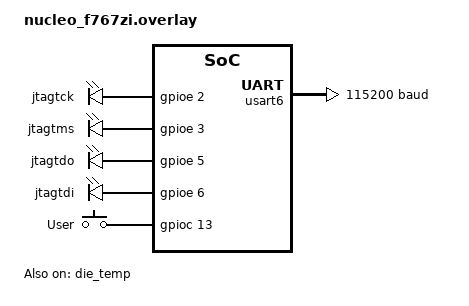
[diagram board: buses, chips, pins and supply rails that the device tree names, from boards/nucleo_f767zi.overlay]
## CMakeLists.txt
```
# SPDX-FileCopyrightText: © 2025-2026 Tenstorrent USA, Inc.
# SPDX-License-Identifier: Apache-2.0

list(APPEND BOARD_ROOT ${CMAKE_CURRENT_SOURCE_DIR})

cmake_minimum_required(VERSION 3.20.0)
find_package(Zephyr REQUIRED HINTS $ENV{ZEPHYR_BASE})
project(wallabmc)

if(BOARD STREQUAL "qemu_cortex_m3")
	if(SYSBUILD)
		message(FATAL_ERROR "qemu_cortex_m3 must NOT be built with sysbuild (e.g., no --sysbuild argument)")
	endif()
else()
	if(NOT SYSBUILD)
		message(FATAL_ERROR "Hardware boards must be built with sysbuild (e.g., --sysbuild argument)")
	endif()
endif()


zephyr_linker_sources(SECTIONS sections-rom.ld)
zephyr_linker_section_ifdef(CONFIG_HTTP_SERVER
  NAME http_resource_desc_web_https_service
  KVMA RAM_REGION GROUP RODATA_REGION
)
zephyr_linker_section_ifdef(CONFIG_HTTP_SERVER
  NAME http_resource_desc_web_http_service
  KVMA RAM_REGION GROUP RODATA_REGION
)

# Used for webserver resources
set(gen_dir ${ZEPHYR_BINARY_DIR}/include/generated/)

# Generate git SHA header at build time so it stays current across commits
find_program(BASH_EXECUTABLE bash)
set(git_sha_header ${gen_dir}/git_sha.h)
add_custom_target(app_git_sha ALL
	COMMAND ${CMAKE_COMMAND}
		-DBASH_EXECUTABLE=${BASH_EXECUTABLE}
		-DSOURCE_DIR=${CMAKE_CURRENT_SOURCE_DIR}
		-DOUTPUT_FILE=${git_sha_header}
		-P ${CMAKE_CURRENT_SOURCE_DIR}/cmake/gen_git_sha.cmake
	BYPRODUCTS ${git_sha_header}
	COMMENT "Generating git SHA header"
)
add_dependencies(app app_git_sha)

target_sources(app PRIVATE
	src/config.c
	src/dhcp.c
	src/main.c
	src/net.c
	src/power.c
	src/synch.c
	src/vpd.c
)

target_sources_ifdef(CONFIG_RTC app PRIVATE
	src/rtc.c
)

target_sources_ifdef(CONFIG_APP_SENSORS app PRIVATE
	src/sensors.c
)

target_sources_ifdef(CONFIG_APP_NTP app PRIVATE
	src/ntp.c
)

target_sources_ifdef(CONFIG_HTTP_SERVER app PRIVATE
	src/http.c
)

target_sources_ifdef(CONFIG_APP_WEB app PRIVATE
	src/web.c
)

target_sources_ifdef(CONFIG_JTAG app PRIVATE
	src/jtag.c
)

target_sources_ifdef(CONFIG_APP_CONSOLE_LOGGER app PRIVATE
	src/console_logger.c
)

target_sources_ifdef(CONFIG_CONSOLE_BRIDGE app PRIVATE
	src/console_bridge.c
)

target_sources_ifdef(CONFIG_APP_WEB_TERMINAL_HOST_SERIAL app PRIVATE
	src/console_bridge_ws.c
)

target_sources_ifdef(CONFIG_PERSISTENT_STORAGE app PRIVATE
	src/button.c
	src/fs.c
)

target_sources_ifdef(CONFIG_REDFISH app PRIVATE
	src/redfish.c
)

target_sources_ifdef(CONFIG_APP_FW_UPDATE app PRIVATE
	src/fw_update.c
)

if(CONFIG_REDFISH)
  foreach(redfish_resource
    redfish_metadata.xml
  )
    generate_inc_file_for_target(app
      static_web_resources/${redfish_resource}
      ${gen_dir}/${redfish_resource}.gz.inc
      --gzip
    )
  endforeach()
endif()

if(CONFIG_APP_WEB)
  foreach(web_resource
    index.html
    logo.jpeg
    favicon.png
  )
    generate_inc_file_for_target(app
      static_web_resources/${web_resource}
      ${gen_dir}/${web_resource}.gz.inc
      --gzip
    )
  endforeach()
endif()

if(CONFIG_APP_CRYPTO)
  find_program(OPENSSL_EXECUTABLE openssl)
  if(NOT OPENSSL_EXECUTABLE)
    message(FATAL_ERROR "CONFIG_APP_CRYPTO requires openssl in PATH")
  endif()
  find_program(BASH_EXECUTABLE bash)
  if(NOT BASH_EXECUTABLE)
    message(FATAL_ERROR "Unable to find bash, needed to generate certificates")
  endif()

  set(generated_certs_dir ${CMAKE_CURRENT_BINARY_DIR}/generated_certs)
  set(generated_server_cert_der ${generated_certs_dir}/server_cert.der)
  set(generated_server_privkey_der ${generated_certs_dir}/server_privkey.der)

  add_custom_command(
    OUTPUT
      ${generated_server_cert_der}
      ${generated_server_privkey_der}
    COMMAND ${CMAKE_COMMAND} -E make_directory ${generated_certs_dir}
    COMMAND ${BASH_EXECUTABLE} ${CMAKE_CURRENT_SOURCE_DIR}/src/certs/gen_ca_cert.sh ${OPENSSL_EXECUTABLE}
    COMMAND ${BASH_EXECUTABLE} ${CMAKE_CURRENT_SOURCE_DIR}/src/certs/gen_server_cert.sh ${OPENSSL_EXECUTABLE}
    WORKING_DIRECTORY ${generated_certs_dir}
    DEPENDS
      ${CMAKE_CURRENT_SOURCE_DIR}/src/certs/gen_ca_cert.sh
      ${CMAKE_CURRENT_SOURCE_DIR}/src/certs/gen_server_cert.sh
    BYPRODUCTS
      ${generated_certs_dir}/ca_cert.pem
      ${generated_certs_dir}/ca_privkey.pem
      ${generated_certs_dir}/ca.srl
      ${generated_certs_dir}/server_cert.pem
      ${generated_certs_dir}/server_privkey.pem
      ${generated_certs_dir}/server_csr.pem
      ${generated_certs_dir}/server_csr.ext
    COMMENT "Generating TLS certificates for APP_CRYPTO"
    VERBATIM
  )

  add_custom_target(app_generate_certs
    DEPENDS
      ${generated_server_cert_der}
      ${generated_server_privkey_der}
  )
  add_dependencies(app app_generate_certs)

  foreach(inc_file
    server_cert.der
    server_privkey.der
  )
    generate_inc_file_for_target(app
      ${generated_certs_dir}/${inc_file}
      ${gen_dir}/${inc_file}.inc
    )
  endforeach()
endif()

if(CONFIG_PERSISTENT_STORAGE)
  if(CONFIG_CODE_DATA_RELOCATION_SRAM AND CONFIG_SOC_FLASH_STM32)
    include(${ZEPHYR_BASE}/cmake/modules/extensions.cmake)
    FILE(GLOB flash_driver ${ZEPHYR_BASE}/drivers/flash/flash_stm32*.c)
    zephyr_code_relocate(FILES ${flash_driver} LOCATION RAM)
    # Zephyr flash driver is relocated to RAM by the line above.
    # fw_update.c flash operations use the Zephyr driver API
    # which safely handles PG=1 from RAM.
  else()
    message(FATAL_ERROR "flash storage handling is not defined for this platform")
  endif()
endif()
```

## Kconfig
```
# SPDX-FileCopyrightText: © 2025-2026 Tenstorrent USA, Inc.
# SPDX-License-Identifier: Apache-2.0

mainmenu "WallaBMC"

# This UUID should not be changed, it is a namespace from which
# to generate other UUIDs for WallaBMC.
config WALLABMC_UUID_NS
	string
	default "6ae4c3c7-fff0-472a-a77c-6f3f5a09ee7c"

config APP_DNS_RESOLVE
	bool
	select REQUIRES_FULL_LIBC
	select NET_SOCKETS_SERVICE
	select DNS_RESOLVER
	select NET_DHCPV4_OPTION_DNS_ADDRESS
	# If DHCP is not enabled, then need these. For now, DNS/NTP
	# requires DHCP. Could make DNS configurable.
	select DNS_SERVER_IP_ADDRESSES
	select DNS_RECONFIGURE_CLEANUP

config DNS_SERVER1
	string
	default "1.1.1.1" if APP_DNS_RESOLVE

config APP_NTP
	bool "NTP time synchronisation"
	select SNTP
	select APP_DNS_RESOLVE
	# Could these options reduce our code?
	#CONFIG_NET_CONFIG_CLOCK_SNTP_INIT=y
	#CONFIG_NET_CONFIG_CLOCK_SNTP_SET_RTC=y
	default y

config MAIN_STACK_SIZE
	int
	default 4096 if PERSISTENT_STORAGE

config APP_CRYPTO
	bool
	select NET_SOCKETS_SOCKOPT_TLS
	select MBEDTLS
	select MBEDTLS_ENABLE_HEAP
	select MBEDTLS_SSL_PROTO_TLS1_2
	select MBEDTLS_SSL_ALPN
	# XXX: Should HAVE_TIME_DATE be enabled? Test if it prevents HTTPS
	# connections if the RTC is wrong, in which case it might not be
	# feasible if we need webui to set time.
	# select MBEDTLS_HAVE_TIME_DATE if RTC

config APP_CRYPTO_TLS13
	bool
	default y
	depends on APP_CRYPTO && !APP_CRYPTO_PSK
	select MBEDTLS_SSL_PROTO_TLS1_3
        select MBEDTLS_SSL_TLS1_3_KEY_EXCHANGE_MODE_EPHEMERAL_ENABLED
	select MBEDTLS_SSL_EARLY_DATA
        select MBEDTLS_SSL_SESSION_TICKETS
	select PSA_WANT_ALG_HKDF
	select PSA_WANT_ALG_HKDF_EXTRACT
	select PSA_WANT_ALG_HKDF_EXPAND

config APP_CRYPTO_PUBLIC_KEY
	bool
	# Basic ciphers
	select MBEDTLS_CIPHERSUITE_TLS_ECDHE_ECDSA_WITH_AES_128_GCM_SHA256
	select PSA_WANT_ALG_SHA_256
	# Plus SHA384
	select PSA_WANT_ALG_SHA_384
	# Plus CHACHA20
	select PSA_WANT_ALG_CHACHA20_POLY1305
	select PSA_WANT_KEY_TYPE_CHACHA20
	# Required for websocket
	select PSA_WANT_ALG_SHA_1 if HTTP_SERVER_WEBSOCKET

# PSK can only use TLS1.2 (supporting 1.3 seems to require pulling in
# so much that it is not worthwhile).
config APP_CRYPTO_PSK
	bool
	select MBEDTLS_KEY_EXCHANGE_PSK_ENABLED # TLS1.2
	select MBEDTLS_CIPHERSUITE_TLS_PSK_WITH_AES_128_GCM_SHA256
	select MBEDTLS_KEY_EXCHANGE_RSA_PSK_ENABLED
	select MBEDTLS_RSA_C
	select MBEDTLS_PKCS1_V15
	select PSA_WANT_KEY_TYPE_RSA_KEY_PAIR_IMPORT
	select PSA_WANT_KEY_TYPE_RSA_KEY_PAIR_EXPORT
	select PSA_WANT_KEY_TYPE_RSA_KEY_PAIR_GENERATE

config APP_CRYPTO_DEBUG
	bool "crypto debug"
	default n
	select MBEDTLS_DEBUG
	select MBEDTLS_MEMORY_DEBUG
	select NET_SOCKETS_TLS_LOG_LEVEL_DBG

config MBEDTLS_DEBUG_LEVEL
	int
	depends on APP_CRYPTO_DEBUG
	default 1

config MBEDTLS_HEAP_SIZE
	int
	depends on APP_CRYPTO
	default 49152

config NET_PKT_RX_COUNT
	int
	depends on APP_CRYPTO
	default 32

config NET_PKT_TX_COUNT
	int
	depends on APP_CRYPTO
	default 32

config NET_BUF_RX_COUNT
	int
	default 96 if APP_CRYPTO
	default 64

config NET_BUF_TX_COUNT
	int
	default 96 if APP_CRYPTO
	default 64

config NET_SOCKETS_TLS_MAX_CONTEXTS
	int
	depends on APP_CRYPTO
	default 6

# The Kconfig comments for this option say TLS standards require
# 16k size, but this requires several 16K allocations each for
# send and recv on the heap so it's too large. Apparently browsers
# negotiate smaller sizes, so 1500 should be okay there. Redfish
# and curl with auth headers seem to require more (4096 works).
# may require more?
config MBEDTLS_SSL_MAX_CONTENT_LEN
	int
	depends on APP_CRYPTO
	default 4096

config APP_HTTPS
	bool "HTTPS support for web and redfish"
	default y
	depends on REDFISH || APP_WEB
	select HTTP_SERVER_TLS_USE_ALPN
	select APP_CRYPTO

config APP_HTTPS_PUBLIC_KEY
	bool "HTTPS public key support"
	default y
	depends on APP_HTTPS
	select APP_CRYPTO_PUBLIC_KEY

config APP_HTTPS_PSK
	bool "HTTPS PSK support"
	default n
	depends on APP_HTTPS
	select APP_CRYPTO_PSK

config APP_BMC_UUID
	bool "BMC UUID based on HWINFO device ID"
	select MBEDTLS
	select MBEDTLS_PSA_CRYPTO_C
	select PSA_WANT_ALG_SHA_1
	select UUID
	select UUID_V5
	select HWINFO

config APP_SENSORS
	bool "BMC Sensors (temperature)"
	select SENSOR
	select ADC

config REDFISH
	bool "Redfish server"
	default y
	select HTTP_SERVER
	select HTTP_SERVER_CAPTURE_HEADERS
	select JSON_LIBRARY
	select APP_BMC_UUID
	select BASE64

if REDFISH

config REDFISH_SYSTEM_PRODUCT_NAME
	string "Redfish system product / board display name"
	default "WallaBMC Board"
	help
	  Shown as System Name in Redfish and in the dashboard System Overview.

config REDFISH_SYSTEM_MANUFACTURER
	string "Redfish system manufacturer"
	default "WallaBMC"

config REDFISH_SYSTEM_MODEL
	string "Redfish system model"
	default "Generic"

config REDFISH_SYSTEM_PROCESSOR_MODEL
	string "Redfish processor summary model"
	default "N/A"

config REDFISH_SYSTEM_PROCESSOR_COUNT
	int "Redfish processor summary count"
	default 1

config REDFISH_SYSTEM_MEMORY_GIB
	int "Redfish memory summary total (GiB)"
	default 0
	help
	  Total system memory in GiB for Redfish MemorySummary. 0 shows as N/A.

config HTTP_SERVER_MAX_HEADER_LEN
	int
	default 48 # Basic auth header + 15 character password is 34 characters

endif # REDFISH

config HTTP_SERVER_NUM_SERVICES
	int
	default 2 if APP_HTTPS # default 1 (listen on just 80)

config HTTP_SERVER_MAX_CLIENTS
	int
	default 8 if APP_WEB

config APP_WEB
	bool "Web server"
	default y
	select HTTP_SERVER
	select REDFISH

config APP_WEB_TERMINAL
	bool "Websocket consoles and webui terminal emulator"
	default y
	select APP_WEB
	select HTTP_SERVER_WEBSOCKET
	# WS auth protocol requires these hashes
	select BASE64
	select MBEDTLS_SHA1

config APP_WEB_TERMINAL_BMC_SHELL
	bool "Zephyr shell websocket and webui terminal"
	default y
	depends on APP_WEB_TERMINAL
	select SHELL
	select SHELL_BACKEND_WEBSOCKET
	select LOG_BACKEND_WS
	select LOG_BACKEND_WS_AUTOSTART

config APP_WEB_TERMINAL_HOST_SERIAL
	bool "Host serial websocket and webui terminal"
	default y
	select APP_CONSOLE_LOGGER
	depends on APP_WEB_TERMINAL

if APP_WEB_TERMINAL_HOST_SERIAL
config CONSOLE_BRIDGE_WS_STACK_SIZE
	int
	default 4096 if APP_HTTPS
	default 2048

config CONSOLE_BRIDGE_WS_PRIORITY
	int
	default 5
endif

config SHELL_WEBSOCKET_ENDPOINT_URL
	string
	depends on SHELL_BACKEND_WEBSOCKET
	default "console/bmc"

config DEFAULT_ADMIN_PASSWORD
	string "Default admin password"
	default "123456"

config SYSTEM_WORKQUEUE_STACK_SIZE
	int
	depends on HTTP_SERVER_WEBSOCKET
	default 2560 if APP_HTTPS
	default 1536

# WS log backend uses lot of stack
config LOG_PROCESS_THREAD_STACK_SIZE
	int
	depends on LOG_BACKEND_WS
	default 2560

config NET_TCP_MAX_RECV_WINDOW_SIZE
	int
	default 20480

# Increase retry and timeout limits
config NET_TCP_INIT_RETRANSMISSION_TIMEOUT
	int
	default 500

config NET_TCP_RETRY_COUNT
	int
	default 10

config SHELL_STACK_SIZE
	int
	depends on SHELL_BACKEND_WEBSOCKET
	default 3072

config HTTP_SERVER_STACK_SIZE
	int
	depends on LOG_BACKEND_WS
	default 4096

config NET_SOCKETS_SERVICE_STACK_SIZE
	int
	default 3072 if APP_CRYPTO
	default 1536

config NET_MAX_CONTEXTS
	int
	depends on HTTP_SERVER
	default 12

config NET_MAX_CONN
	int
	depends on HTTP_SERVER
	default 16

config ZVFS_EVENTFD_MAX
	int
	depends on HTTP_SERVER
	default 4

config ZVFS_POLL_MAX
	int
	depends on HTTP_SERVER
	default 8

config PERSISTENT_STORAGE
	bool "Persistent storage for config"
	default n
	# Enable Flash and Flash Map to access memory
	select FLASH
	select FLASH_MAP
	# select FLASH_SHELL if SHELL # ~4kB flash
	# Writing internal flash that is used for XIP requires
	# that the flash driver is relocated into RAM.
	select CODE_DATA_RELOCATION_SRAM
	# XXX: May need to enable these, or disable IRQs in the flash
	# erase and program functions while flash is being written.
	# select SRAM_VECTOR_TABLE
	# select SRAM_SW_ISR_TABLE
	# select DEVICE_MUTABLE
	# Enable NVS key-value system
	select NVS
	select NVS_INIT_BAD_MEMORY_REGION # Do not require erased flash

config REBOOT
	bool
	default y

config POWEROFF
	bool
	default y if HAS_POWEROFF

config JTAG
	bool "JTAG support"
	depends on $(dt_path_enabled,/jtag)
	default y

if JTAG

config JTAG_DAEMON_STACK_SIZE
	int "JTAG daemon stack size"
	default 1024

config JTAG_DAEMON_PRIORITY
	int "JTAG daemon priority"
	default 5

endif

# use `kernel thread stack` shell command
config APP_STACK_DEBUG
	bool
	default n
	select THREAD_NAME
	select THREAD_ANALYZER
	select THREAD_ANALYZER_RUN_UNLOCKED

config APP_CONSOLE_LOGGER
	bool "Console logger (capture host console uart)"
	default y
	select SERIAL
	select SERIAL_SUPPORT_ASYNC
	select UART_ASYNC_API

if APP_CONSOLE_LOGGER
config APP_CONSOLE_LOG_SIZE
	int "Console log size"
	range 64 65536
	default 2048
endif

config APP_FW_UPDATE
	bool "Firmware update support"
	depends on REDFISH
	select FLASH
	select FLASH_MAP
	select CODE_DATA_RELOCATION_SRAM
	select REBOOT
	default y
	help
	  Enable firmware update via WebUI. Firmware images are written to
	  MCUboot slot1 and applied on next reboot.

config CONSOLE_BRIDGE
	bool "Console bridge (host console to TCP port 22)"
	default y
	depends on APP_CONSOLE_LOGGER

if CONSOLE_BRIDGE

config CONSOLE_BRIDGE_STACK_SIZE
	int "Console bridge daemon stack size"
	default 1024

config CONSOLE_BRIDGE_PRIORITY
	int "Console bridge daemon priority"
	default 5

endif

source "Kconfig.zephyr"
```

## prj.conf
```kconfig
# Respect flash partition layout
CONFIG_USE_DT_CODE_PARTITION=y

# Kernel options
CONFIG_BOOT_BANNER=n # Do our own banner
CONFIG_EARLY_CONSOLE=y
CONFIG_INIT_STACKS=y

CONFIG_POSIX_API=y

# Net debug
#CONFIG_NET_SOCKETS_LOG_LEVEL_DBG=y
#CONFIG_SNTP_LOG_LEVEL_DBG=y
#CONFIG_NET_LOG=y

CONFIG_RTC=y

# Logging
CONFIG_LOG=y
#CONFIG_LOG_DEFAULT_LEVEL=0
CONFIG_LOG_PRINTK=n
# CONFIG_NET_LOG=y # ~10kB flash
CONFIG_PHY_LOG_LEVEL_WRN=y

# Generic networking options
CONFIG_NETWORKING=y
CONFIG_NET_IPV4=y
CONFIG_NET_IPV6=n
CONFIG_NET_ARP=y
CONFIG_NET_UDP=y
CONFIG_NET_TCP=y

# IP address options
# 2 addresses so we can have a DHCP and an overridable static */
CONFIG_NET_CONFIG_AUTO_INIT=n
CONFIG_NET_IF_UNICAST_IPV4_ADDR_COUNT=2
CONFIG_NET_DHCPV4=y
CONFIG_NET_DHCPV4_OPTION_CALLBACKS=y
#CONFIG_DNS_RESOLVER=y # This makes telnet console hang?
# Hostname will be registered with DHCP so if the network supports it,
# it will be the DNS name too. UNIQUE=y appends a random UUID to the
# end of HOSTNAME, you will need to watch the console to get this, or
# give yourself a unique hostname.
CONFIG_NET_CONFIG_SETTINGS=y
CONFIG_NET_HOSTNAME_ENABLE=y
CONFIG_NET_HOSTNAME="wallabmc"
# Don't want to append a unique string because that makes it hard to
# find.
#CONFIG_NET_HOSTNAME_UNIQUE=y
# default / no-DHCP IP address
#CONFIG_NET_CONFIG_MY_IPV4_ADDR="192.168.2.55"

# `date set` does not set the RTC which would be confusing, so
# disable it. We supply `bmc time` commands.
CONFIG_DATE_SHELL=n
# local/network shell
CONFIG_KERNEL_SHELL=n # ~5kB flash
#CONFIG_SHELL_TAB=y
#CONFIG_NET_SHELL=y # ~40kB flash

# GPIO options
CONFIG_GPIO=y

### Storage ###
CONFIG_PERSISTENT_STORAGE=y

# Enable serial shell backend (for USB/serial console input)
CONFIG_SHELL_BACKEND_SERIAL=y
# Increase RX ring buffer so typing doesn't overflow (default 64 is too small)
CONFIG_SHELL_BACKEND_SERIAL_RX_RING_BUFFER_SIZE=512

# Websocket default prompt (does not enable anything on it's own)
CONFIG_SHELL_WEBSOCKET_PROMPT="bmc:~$ "

# Larger net buffers = fewer buffers per frame (same ~32KB total)
CONFIG_NET_BUF_RX_COUNT=128
CONFIG_NET_BUF_DATA_SIZE=256
# Slightly larger window for more data in flight
CONFIG_NET_TCP_MAX_RECV_WINDOW_SIZE=16384
# HW checksum offload and async TX for better CPU efficiency
CONFIG_ETH_STM32_HW_CHECKSUM=y
CONFIG_ETH_STM32_HAL_TX_ASYNC=y

# Increase HTTP client buffer (16KB) and reduce max clients to save RAM
CONFIG_HTTP_SERVER_CLIENT_BUFFER_SIZE=16384
CONFIG_HTTP_SERVER_MAX_CLIENTS=4
```

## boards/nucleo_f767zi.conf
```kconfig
# Gentoo mode
CONFIG_SPEED_OPTIMIZATIONS=y

CONFIG_NOCACHE_MEMORY=y

CONFIG_APP_SENSORS=y
CONFIG_APP_FW_UPDATE=y
```

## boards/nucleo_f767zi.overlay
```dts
/delete-node/ &quadspi_memory;

// Nucleo F767ZI
/ {
    chosen {
        zephyr,rtc = &rtc;
    };

    jtag {
        // What is a better setting for this?
        compatible = "gpio-leds";

        jtagtck: jtag_tck {
            gpios = <&gpioe  2 GPIO_ACTIVE_HIGH>;
        };
        jtagtms: jtag_tms {
            gpios = <&gpioe  3 GPIO_ACTIVE_HIGH>;
        };
        jtagtdo: jtag_tdo {
            gpios = <&gpioe  5     GPIO_PULL_UP>;
        };
        jtagtdi: jtag_tdi {
            gpios = <&gpioe  6 GPIO_ACTIVE_HIGH>;
        };
    };

    // Zephyr configures ACTIVE_LOW by default, which reads 0 when the
    // button is pressed and 1 when it is released. Flip to 1 on press.
    gpio_keys {
        compatible = "gpio-keys";

        user_button: button_0 {
            label = "User";
            gpios = <&gpioc 13 GPIO_ACTIVE_HIGH>;
            zephyr,code = <INPUT_KEY_0>;
        };
    };

    aliases {
        jtagtck = &jtagtck;
        jtagtms = &jtagtms;
        jtagtdi = &jtagtdi;
        jtagtdo = &jtagtdo;

        power-gpio-1 = &green_led;
        reset-gpio-1 = &red_led;
        status-led = &blue_led;

        reset-button = &user_button;
	host-console-uart = &usart6;
    };
};

&spi4 {
     status = "disabled";
};

&dma2 {
    status = "okay";
};

&die_temp {
    status = "okay";
};

&usart6 {
	current-speed = <115200>;
	status = "okay";
	dmas = <&dma2 6 5 STM32_DMA_PERIPH_TX STM32_DMA_FIFO_FULL>,
	       <&dma2 1 5 STM32_DMA_PERIPH_RX STM32_DMA_FIFO_FULL>;
	dma-names = "tx", "rx";
	fifo-enable;
};

/delete-node/ &boot_partition;
/delete-node/ &storage_partition;
/delete-node/ &slot0_partition;
/delete-node/ &slot1_partition;
/delete-node/ &scratch_partition;

&flash0 {
    partitions {
        compatible = "fixed-partitions";
        #address-cells = <1>;
        #size-cells = <1>;

        /*
         * Dual-bank mode (24 sectors, nDBANK=0).
         *
         * Bank 1 (0x00000-0xFFFFF):
         *   S0-S1: 2x16KB (0x00000-0x07FFF)  mcuboot (32KB)
         *   S2-S3: 2x16KB (0x08000-0x0FFFF)  storage (32KB)
         *   S4-S11: 1x64+7x128 (0x10000-0xFFFFF) slot0 (960KB)
         *
         * Bank 2 (0x100000-0x1FFFFF):
         *   S12-S16: 4x16+1x64 (0x100000-0x11FFFF) scratch (128KB)
         *   S17-S23: 7x128KB   (0x120000-0x1FFFFF) slot1 (896KB)
         *
         * Note: slot0=960KB > slot1=896KB, MCUboot UPGRADE_ONLY mode
         * uses the image size in the header, not slot size.
         */
        boot_partition: partition@0 {
            label = "mcuboot";
            reg = <0x00000000 DT_SIZE_K(32)>;
        };

        storage_partition: partition@8000 {
            label = "storage";
            reg = <0x00008000 DT_SIZE_K(32)>;
        };

        slot0_partition: partition@10000 {
            label = "image-0";
            reg = <0x00010000 DT_SIZE_K(960)>;
        };

        scratch_partition: partition@100000 {
            label = "image-scratch";
            reg = <0x00100000 DT_SIZE_K(128)>;
        };

        slot1_partition: partition@120000 {
            label = "image-1";
            reg = <0x00120000 DT_SIZE_K(896)>;
        };
    };
};
```

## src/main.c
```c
/*
 * SPDX-FileCopyrightText: © 2025-2026 Tenstorrent USA, Inc.
 * SPDX-License-Identifier: Apache-2.0
 */

#include <zephyr/logging/log.h>
#include <zephyr/logging/log_ctrl.h>
LOG_MODULE_REGISTER(wallabmc, LOG_LEVEL_INF);

#include <zephyr/kernel.h>
#include <zephyr/sys/reboot.h>
#include <zephyr/sys/poweroff.h>
#include <zephyr/shell/shell.h>

#include "fs.h"
#include "config.h"
#include "button.h"
#include "net.h"
#include "http.h"
#include "power.h"
#include "rtc.h"
#include "sensors.h"
#include "jtag.h"
#include "console_logger.h"
#include "console_bridge.h"
#include "console_bridge_ws.h"
#include "vpd.h"
#include "git_sha.h"
#ifdef CONFIG_APP_FW_UPDATE
#include "fw_update.h"
#endif

static bool boot_finished = false;

bool is_boot_finished(void)
{
	return boot_finished;
}

static void print_banner(void)
{
	int pad = 20;

	printk("\n");
	printk("%*s    +---------------------+\n", pad, "");
	printk("%*s    | Welcome to WallaBMC |\n", pad, "");
	printk("%*s    +---------------------+\n", pad, "");
	printk("%*s                 \\\n", pad, "");
	printk("%*s                   \\     /)\n", pad, "");
	printk("%*s                      <.' \\_\n", pad, "");
	printk("%*s                        / ( )\\\n", pad, "");
	printk("%*s                        __|/  \\__\n", pad, "");
	printk("%*s.,.,.,,,..,,.,.,.,.,..,,.,.,.,,.,..,,.,.,.,.\n", pad, "");

	LOG_INF("Project build: %s", PROJECT_GIT_SHA);
	LOG_INF("Zephyr OS build: %s", BANNER_VERSION);
#if defined(CONFIG_REDFISH)
	LOG_INF("Board: %s", CONFIG_REDFISH_SYSTEM_PRODUCT_NAME);
	LOG_INF("System: %s %s (CPU: %s x%d, Memory: %d GiB)",
		CONFIG_REDFISH_SYSTEM_MANUFACTURER,
		CONFIG_REDFISH_SYSTEM_MODEL,
		CONFIG_REDFISH_SYSTEM_PROCESSOR_MODEL,
		CONFIG_REDFISH_SYSTEM_PROCESSOR_COUNT,
		CONFIG_REDFISH_SYSTEM_MEMORY_GIB);
#endif
}

FUNC_NORETURN int bmc_reboot(void)
{
	fs_exit();

	LOG_WRN("Rebooting BMC");
	/* log_panic() appears to be needed in order to get the logs out. */
	log_panic();
	k_msleep(100);

	/*
	 * It is said that not all platforms support all reboot types.
	 * Not sure the best way to do this, but try a warm reboot first,
	 * then cold.
	 */
	sys_reboot(SYS_REBOOT_WARM);
	sys_reboot(SYS_REBOOT_COLD);
	k_panic();
	for (;;);
}

static FUNC_NORETURN int bmc_poweroff(void)
{
	fs_exit();

	LOG_WRN("Poweroff BMC");
	/* log_panic() appears to be needed in order to get the logs out. */
	log_panic();
	k_msleep(100);

#ifdef CONFIG_POWEROFF
	sys_poweroff();
	k_panic();
#endif
	for (;;);
}

static int cmd_bmc_reboot(const struct shell *sh, size_t argc, char **argv)
{
	ARG_UNUSED(argc);
	ARG_UNUSED(argv);
	bmc_reboot();
	return 0;
}

static int cmd_bmc_poweroff(const struct shell *sh, size_t argc, char **argv)
{
	ARG_UNUSED(argc);
	ARG_UNUSED(argv);
	bmc_poweroff();
	return 0;
}

SHELL_STATIC_SUBCMD_SET_CREATE(sub_bmc_cmds,
	SHELL_CMD(reboot,	NULL, "Reboot BMC.", cmd_bmc_reboot),
	SHELL_CMD(poweroff,	NULL, "Power off BMC.", cmd_bmc_poweroff),
	SHELL_SUBCMD_SET_END
);

SHELL_CMD_REGISTER(bmc, &sub_bmc_cmds, "BMC system commands", NULL);

static int cmd_hop(const struct shell *sh, size_t argc, char **argv)
{
	ARG_UNUSED(argc);
	ARG_UNUSED(argv);

	/* Wallaby on ground */
	const char *wallaby_ground[] = {
		"",
		"",
		"",
		"             /)",
		"          <.' \\_",
		"            / ( )\\",
		"            __|/  \\__",
		NULL
	};

	/* Wallaby in air (hopped up) */
	const char *wallaby_air[] = {
		"             /)",
		"          <.' \\_",
		"            / ( )\\",
		"            |/  \\",
		"            /     \\",
		"",
		"",
		NULL
	};

	int pos;  /* Horizontal position */
	int i, j;
	int max_pos = 60;  /* Maximum horizontal position */
	int num_hops = 4;  /* Number of complete hops */
	bool in_air = false;

	shell_print(sh, "\n");

	for (i = 0; i < num_hops; i++) {
		/* Each hop moves the wallaby forward */
		for (pos = max_pos; pos > 0; pos -= 4) {
			/* Clear screen and move cursor to home position */
			shell_print(sh, "\033[2J\033[H");

			/* Alternate between air and ground every few steps */
			if ((pos / 8) % 2 == 0) {
				in_air = false;
			} else {
				in_air = true;
			}

			const char **current_frame = in_air ? wallaby_air : wallaby_ground;

			/* Print the frame with horizontal offset */
			for (j = 0; current_frame[j] != NULL; j++) {
					shell_print(sh, "%*s%s", pos, "", current_frame[j]);
			}
			shell_print(sh, "----------------------------------------------------------------------------------");

			k_msleep(120);  /* Animation speed */
		}
	}

	shell_print(sh, "\n");

	return 0;
}

SHELL_CMD_REGISTER(hop, NULL, "Make the wallaby hop across the screen.", cmd_hop);

int main(void)
{
	print_banner();

	LOG_DBG("RTC init");
	if (rtc_init() < 0) {
		LOG_ERR("RTC init failed");
		return -1;
	}

	LOG_DBG("VPD init");
	if (vpd_init() < 0) {
		LOG_ERR("VPD init failed");
		return -1;
	}

	LOG_DBG("Filesystem init");
	if (fs_init() < 0) {
		LOG_ERR("Filesystem init failed, continuing without persistent storage");
	}

	LOG_DBG("Config init");
	if (config_init() < 0) {
		LOG_ERR("Config init failed");
		return -1;
	}

	LOG_DBG("Button init");
	if (button_init() < 0) {
		LOG_ERR("Button init failed");
		/* Continue */
	}

	LOG_DBG("Network init");
	if (net_init() < 0) {
		LOG_ERR("Network init failed");
		return -1;
	}

	LOG_DBG("Power init");
	if (power_init() < 0) {
		LOG_ERR("Power init failed");
		return -1;
	}

	LOG_DBG("Reset init");
	if (reset_init() < 0) {
		LOG_ERR("Reset init failed");
		return -1;
	}

	LOG_DBG("LED init");
	if (status_led_init() < 0) {
		LOG_ERR("LED init failed");
		return -1;
	}

	LOG_DBG("JTAG init");
	if (jtag_init() < 0) {
		LOG_ERR("JTAG init failed");
		return -1;
	}

	LOG_DBG("HTTP server init");
	if (app_http_server_init() < 0) {
		LOG_ERR("HTTP server init failed");
		return -1;
	}

#ifdef CONFIG_APP_FW_UPDATE
	LOG_DBG("Firmware update init");
	if (fw_update_init() < 0) {
		LOG_ERR("Firmware update init failed");
		/* Continue without firmware update */
	}

	if (fw_update_init_redfish() < 0) {
		LOG_ERR("Firmware update Redfish init failed");
	}
#endif

	LOG_DBG("Console logger init");
	if (console_logger_init() < 0) {
		LOG_ERR("Console logger init failed");
		return -1;
	}

	LOG_DBG("Console bridge init");
	if (console_bridge_init() < 0) {
		LOG_ERR("Console bridge init failed");
		return -1;
	}

	LOG_DBG("Console bridge WS init");
	if (console_bridge_ws_init() < 0) {
		LOG_ERR("Console bridge WS init failed");
		return -1;
	}

	boot_finished = true;

	LOG_INF("BMC boot complete");

	return 0;
}
```

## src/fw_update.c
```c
/*
 * Firmware Update via WebUI
 *
 * Flash erase runs in a background thread to avoid blocking the HTTP server.
 * Flash writes are synchronous (fast, microsecond-scale per byte).
 *
 * SPDX-FileCopyrightText: © 2025-2026 Tenstorrent USA, Inc.
 * SPDX-License-Identifier: Apache-2.0
 */

#include <zephyr/kernel.h>
#include <zephyr/logging/log.h>
#include <zephyr/drivers/flash.h>
#include <zephyr/storage/flash_map.h>
#include <zephyr/sys/reboot.h>
#include <zephyr/irq.h>
#include <zephyr/sys/util.h>
#include <zephyr/shell/shell.h>
#include <string.h>
#include <stm32f7xx.h>

#include "fw_update.h"

LOG_MODULE_REGISTER(wallabmc_fw_update, LOG_LEVEL_INF);

#if !defined(PARTITION_EXISTS)
#define PARTITION_EXISTS FIXED_PARTITION_EXISTS
#define PARTITION_ID FIXED_PARTITION_ID
#define PARTITION_DEVICE FIXED_PARTITION_DEVICE
#define PARTITION_OFFSET FIXED_PARTITION_OFFSET
#define PARTITION_SIZE FIXED_PARTITION_SIZE
#endif

#define IMAGE_MAGIC 0x96f3b83d
#define FLASH_RETRY_COUNT 3

/* Background writer thread (for long-running erase only) */
#define FW_WRITER_STACK_SIZE 4096
#define FW_WRITER_PRIORITY 5

enum fw_writer_cmd { FW_CMD_ERASE, FW_CMD_FINISH, FW_CMD_CANCEL };

struct fw_writer_msg {
	enum fw_writer_cmd cmd;
};

#define FW_WRITER_QUEUE_SIZE 8
K_MSGQ_DEFINE(fw_writer_msgq, sizeof(struct fw_writer_msg), FW_WRITER_QUEUE_SIZE, 4);

static struct k_thread fw_writer_thread;
static K_THREAD_STACK_DEFINE(fw_writer_stack, FW_WRITER_STACK_SIZE);

static const struct device *flash_dev;
static enum fw_update_state fw_state = FW_UPDATE_IDLE;
static size_t fw_total_size;
static size_t fw_bytes_written;
static bool writer_active;

/* ====== Flash register helpers ====== */

/* Clear stale error flags and unlock - minimal logging */
static void flash_clear_errors(void)
{
	FLASH_TypeDef *flash = FLASH;
	uint32_t sr = flash->SR;
	uint32_t cr = flash->CR;

	if (cr & FLASH_CR_LOCK) {
		LOG_WRN("Unlock...");
		flash->KEYR = 0x45670123;
		flash->KEYR = 0xCDEF89AB;
	}
	sr = flash->SR;
	if (sr & (FLASH_SR_OPERR | FLASH_SR_WRPERR | FLASH_SR_PGAERR |
		  FLASH_SR_PGPERR | FLASH_SR_ERSERR)) {
		LOG_DBG("Clear SR=0x%08lx", (unsigned long)sr);
		flash->SR = FLASH_SR_OPERR | FLASH_SR_WRPERR | FLASH_SR_PGAERR |
			    FLASH_SR_PGPERR | FLASH_SR_ERSERR;
	}
}

/* Wait for BSY, yielding periodically */
static int flash_wait_idle(FLASH_TypeDef *flash)
{
	for (int i = 0; i < 10000000; i++) {
		if (!(flash->SR & FLASH_SR_BSY)) {
			uint32_t err = flash->SR & (FLASH_SR_OPERR|FLASH_SR_WRPERR|
				FLASH_SR_PGAERR|FLASH_SR_PGPERR|FLASH_SR_ERSERR);
			return err ? -EIO : 0;
		}
		if ((i & 0xFFF) == 0) k_yield();
	}
	return -ETIMEDOUT;
}

/* Compute sector SNB for erase */
static uint32_t sector_to_snb(off_t offset)
{
	struct flash_pages_info info;
	if (flash_get_page_info_by_offs(flash_dev, offset, &info) < 0) return 0;
	uint32_t s = info.index;
	if (s > 11) s += 4U; /* dual-bank 2MB remap */
	return s;
}

/* Erase one sector via direct register access */
static int flash_erase_sector(off_t offset)
{
	FLASH_TypeDef *flash = FLASH;
	flash_clear_errors();
	int rc = flash_wait_idle(flash);
	if (rc < 0) return rc;

	uint32_t snb = sector_to_snb(offset);
	flash->CR = (flash->CR & ~(FLASH_CR_PSIZE|FLASH_CR_SNB)) |
		FLASH_CR_SER | (snb << FLASH_CR_SNB_Pos) | FLASH_CR_STRT;
	rc = flash_wait_idle(flash);
	flash->CR &= ~(FLASH_CR_SER|FLASH_CR_SNB);
	return rc;
}

/* Write 32 bytes (one 256-bit row), with PSIZE=00 (byte mode).
 * Exactly 32 byte writes per PG session - this is the minimum row size. */
static int flash_write_row(uint32_t offset, const uint8_t *data)
{
	FLASH_TypeDef *flash = FLASH;

	/* Unlock if needed */
	if (flash->CR & FLASH_CR_LOCK) {
		flash->KEYR = 0x45670123;
		flash->KEYR = 0xCDEF89AB;
	}
	flash->SR = FLASH_SR_OPERR | FLASH_SR_WRPERR | FLASH_SR_PGAERR |
		    FLASH_SR_PGPERR | FLASH_SR_ERSERR;

	/* Wait for BSY only */
	while (flash->SR & FLASH_SR_BSY) { k_yield(); }

	/* Write with PSIZE=00 (byte), PG=1 */
	unsigned int key = irq_lock();
	flash->CR = (flash->CR & ~FLASH_CR_PSIZE) | FLASH_CR_PG;
	__DSB(); __ISB();

	volatile uint8_t *faddr = (volatile uint8_t *)(0x08000000UL + offset);
	faddr[0] = data[0];  __DSB(); while (flash->SR & FLASH_SR_BSY) {}
	faddr[1] = data[1];  __DSB(); while (flash->SR & FLASH_SR_BSY) {}
	faddr[2] = data[2];  __DSB(); while (flash->SR & FLASH_SR_BSY) {}
	faddr[3] = data[3];  __DSB(); while (flash->SR & FLASH_SR_BSY) {}
	faddr[4] = data[4];  __DSB(); while (flash->SR & FLASH_SR_BSY) {}
	faddr[5] = data[5];  __DSB(); while (flash->SR & FLASH_SR_BSY) {}
	faddr[6] = data[6];  __DSB(); while (flash->SR & FLASH_SR_BSY) {}
	faddr[7] = data[7];  __DSB(); while (flash->SR & FLASH_SR_BSY) {}
	faddr[8] = data[8];  __DSB(); while (flash->SR & FLASH_SR_BSY) {}
	faddr[9] = data[9];  __DSB(); while (flash->SR & FLASH_SR_BSY) {}
	faddr[10] = data[10]; __DSB(); while (flash->SR & FLASH_SR_BSY) {}
	faddr[11] = data[11]; __DSB(); while (flash->SR & FLASH_SR_BSY) {}
	faddr[12] = data[12]; __DSB(); while (flash->SR & FLASH_SR_BSY) {}
	faddr[13] = data[13]; __DSB(); while (flash->SR & FLASH_SR_BSY) {}
	faddr[14] = data[14]; __DSB(); while (flash->SR & FLASH_SR_BSY) {}
	faddr[15] = data[15]; __DSB(); while (flash->SR & FLASH_SR_BSY) {}
	faddr[16] = data[16]; __DSB(); while (flash->SR & FLASH_SR_BSY) {}
	faddr[17] = data[17]; __DSB(); while (flash->SR & FLASH_SR_BSY) {}
	faddr[18] = data[18]; __DSB(); while (flash->SR & FLASH_SR_BSY) {}
	faddr[19] = data[19]; __DSB(); while (flash->SR & FLASH_SR_BSY) {}
	faddr[20] = data[20]; __DSB(); while (flash->SR & FLASH_SR_BSY) {}
	faddr[21] = data[21]; __DSB(); while (flash->SR & FLASH_SR_BSY) {}
	faddr[22] = data[22]; __DSB(); while (flash->SR & FLASH_SR_BSY) {}
	faddr[23] = data[23]; __DSB(); while (flash->SR & FLASH_SR_BSY) {}
	faddr[24] = data[24]; __DSB(); while (flash->SR & FLASH_SR_BSY) {}
	faddr[25] = data[25]; __DSB(); while (flash->SR & FLASH_SR_BSY) {}
	faddr[26] = data[26]; __DSB(); while (flash->SR & FLASH_SR_BSY) {}
	faddr[27] = data[27]; __DSB(); while (flash->SR & FLASH_SR_BSY) {}
	faddr[28] = data[28]; __DSB(); while (flash->SR & FLASH_SR_BSY) {}
	faddr[29] = data[29]; __DSB(); while (flash->SR & FLASH_SR_BSY) {}
	faddr[30] = data[30]; __DSB(); while (flash->SR & FLASH_SR_BSY) {}
	faddr[31] = data[31]; __DSB(); while (flash->SR & FLASH_SR_BSY) {}

	flash->CR &= ~FLASH_CR_PG;
	irq_unlock(key);

	uint32_t werr = flash->SR & (FLASH_SR_OPERR|FLASH_SR_WRPERR|
				     FLASH_SR_PGAERR|FLASH_SR_PGPERR);
	if (werr) {
		LOG_ERR("Row err SR=0x%08lx CR=0x%08lx",
			(unsigned long)flash->SR, (unsigned long)flash->CR);
		return -EIO;
	}
	return 0;
}

/* Write chunk using 32-byte rows */
static int flash_write_chunk(uint32_t offset, const uint8_t *data, size_t len)
{
	while (len >= 32) {
		int rc = flash_write_row(offset, data);
		if (rc < 0) return rc;
		offset += 32; data += 32; len -= 32;
	}
	/* Remaining bytes (partial row) — read-modify-write.
	 * Use 0xFF (erased flash value) instead of reading back the flash,
	 * because the read may go beyond the flash address range and
	 * trigger a bus fault (e.g. trailer at end of slot1).
	 */
	if (len > 0) {
		uint8_t tmp[32];
		memset(tmp, 0xff, sizeof(tmp));
		memcpy(tmp, data, len);
		return flash_write_row(offset, tmp);
	}
	return 0;
}

/* Write with retry - 32-byte rows, progress every 64KB */
static int flash_write_retry(uint32_t offset, const uint8_t *data, size_t len)
{
	FLASH->ACR |= FLASH_ACR_ARTEN | FLASH_ACR_PRFTEN;
	size_t done = 0, last = 0;
	for (int r = 0; r < FLASH_RETRY_COUNT; r++) {
		while (done < len) {
			size_t c = MIN(4096, len - done); /* 4KB chunks */
			int rc = flash_write_chunk(offset + done, data + done, c);
			if (rc < 0) { r = FLASH_RETRY_COUNT; break; }
			done += c;
			/* Let log thread run so progress prints show on serial */
			k_msleep(1);
			if (done - last >= 65536) {
				last = done;
				LOG_INF("Write %d%% (%zu/%zu KB)",
					(int)(done * 100 / len),
					done / 1024, len / 1024);
			}
		}
		if (done >= len) return 0;
		k_msleep(10);
	}
	return -EIO;
}

/* ====== Background writer thread ====== */

static void fw_writer_thread_fn(void *a1, void *a2, void *a3)
{
	ARG_UNUSED(a1); ARG_UNUSED(a2); ARG_UNUSED(a3);
	struct fw_writer_msg msg;

	while (true) {
		if (k_msgq_get(&fw_writer_msgq, &msg, K_FOREVER) != 0) continue;
		switch (msg.cmd) {
		case FW_CMD_ERASE: {
			off_t off = PARTITION_OFFSET(slot1_partition);
			size_t rem = PARTITION_SIZE(slot1_partition);
			size_t total = rem;
			flash_clear_errors();
			int ok = 0;
			while (rem > 0) {
				struct flash_pages_info inf;
				if (flash_get_page_info_by_offs(flash_dev, off, &inf) < 0) break;
				size_t sz = inf.size;
				if (sz > rem) sz = rem;
				int rc;
				for (int r = 0; r < 5; r++) {
					rc = flash_erase_sector(off);
					if (rc == 0) break;
					flash_clear_errors();
					k_msleep(50 * (r + 1));
				}
			if (rc < 0) { fw_state = FW_UPDATE_ERROR; break; }
			off += sz; rem -= sz; ok++;
			LOG_INF("Erase %d%% (%d/%zu KB)", 
				(int)((total - rem) * 100 / total),
				(int)((total - rem) / 1024), total / 1024);
			/* Let log thread run so progress prints show on serial */
			k_msleep(5);
			}
			if (fw_state != FW_UPDATE_ERROR) {
				fw_state = FW_UPDATE_IN_PROGRESS;
			}
			writer_active = true;
			LOG_INF("Erase done");
			break;
		}
		case FW_CMD_FINISH:
			if (!writer_active) break;
			writer_active = false;
			if (fw_state == FW_UPDATE_ERROR) break;
			if (fw_bytes_written != fw_total_size) {
				LOG_ERR("Incomplete %zu/%zu", fw_bytes_written, fw_total_size);
				fw_state = FW_UPDATE_ERROR; break;
			}
			{ /* Verify header magic */
				uint32_t magic;
				uint8_t b[4];
				flash_read(flash_dev, PARTITION_OFFSET(slot1_partition), b, 4);
				magic = b[0]|(b[1]<<8)|(b[2]<<16)|(b[3]<<24);
				if (magic != IMAGE_MAGIC) {
					LOG_ERR("Bad header magic 0x%08x", magic);
					fw_state = FW_UPDATE_ERROR; break;
				}
			}
		{ /* Write MCUboot trailer magic at end of slot1.
		     Slot1 ends at 2MB flash boundary, so write at slot1_end - 32
		     to keep the full 32-byte row within valid flash range. */
			uint8_t trail[32] = {
				0xff, 0xff, 0xff, 0xff, 0xff, 0xff, 0xff, 0xff,
				0xff, 0xff, 0xff, 0xff, 0xff, 0xff, 0xff, 0xff,
				0x77, 0xc2, 0x95, 0xf3, 0x60, 0xd2, 0xef, 0x7f,
				0x35, 0x52, 0x50, 0x0f, 0x2c, 0xb6, 0x79, 0x80,
			};
			uint32_t slot_sz = PARTITION_SIZE(slot1_partition);
			uint32_t magic_off = PARTITION_OFFSET(slot1_partition) + slot_sz - 32;
			flash_write_row(magic_off, trail);
			}
			fw_state = FW_UPDATE_COMPLETE;
			LOG_INF("Update complete: %zu bytes", fw_bytes_written);
			break;
		case FW_CMD_CANCEL:
			writer_active = false;
			fw_state = FW_UPDATE_IDLE;
			fw_total_size = fw_bytes_written = 0;
			break;
		}
		k_yield();
	}
}

/* ====== Public API ====== */

int fw_update_init(void)
{
	flash_dev = NULL;
#if PARTITION_EXISTS(slot1_partition)
	flash_dev = PARTITION_DEVICE(slot1_partition);
#endif
	if (!flash_dev || !device_is_ready(flash_dev)) {
		LOG_WRN("slot1 flash not available"); return -ENODEV;
	}
	LOG_INF("Slot1 @ 0x%08lx, %zu KB",
		(unsigned long)PARTITION_OFFSET(slot1_partition),
		PARTITION_SIZE(slot1_partition) / 1024);
	return 0;
}

int fw_update_start(size_t total_size)
{
	if (total_size == 0 || total_size > FW_UPDATE_MAX_SIZE) return -EINVAL;
	if (!flash_dev) return -ENODEV;

	/* If a previous update was interrupted (NetworkError, etc.), reset state */
	if (fw_state != FW_UPDATE_IDLE) {
		fw_update_cancel();
		k_msleep(50);
	}

	static bool thread_started;
	if (!thread_started) {
		k_thread_create(&fw_writer_thread, fw_writer_stack, FW_WRITER_STACK_SIZE,
				fw_writer_thread_fn, NULL, NULL, NULL,
				FW_WRITER_PRIORITY, 0, K_NO_WAIT);
		thread_started = true;
	}

	fw_total_size = total_size;
	fw_bytes_written = 0;
	fw_state = FW_UPDATE_ERASING;

	struct fw_writer_msg msg = { .cmd = FW_CMD_ERASE };
	k_msgq_put(&fw_writer_msgq, &msg, K_FOREVER);
	return 0;
}

/* Synchronous write – fast enough (byte writes, ~µs each) */
int fw_update_write(const uint8_t *data, size_t len)
{
	if (fw_state == FW_UPDATE_ERASING) {
		LOG_INF("Waiting for erase...");
		int t = 60000;
		while (fw_state == FW_UPDATE_ERASING && t > 0) { k_msleep(10); t -= 10; }
		if (fw_state == FW_UPDATE_ERASING) return -ETIMEDOUT;
	}
	if (fw_state != FW_UPDATE_IN_PROGRESS) return -EINVAL;

	uint32_t flash_offset = PARTITION_OFFSET(slot1_partition) + fw_bytes_written;
	int rc = flash_write_retry(flash_offset, data, len);
	if (rc < 0) { fw_state = FW_UPDATE_ERROR; return rc; }
	fw_bytes_written += len;
	return 0;
}

int fw_update_finish(void)
{
	struct fw_writer_msg msg = { .cmd = FW_CMD_FINISH };
	k_msgq_put(&fw_writer_msgq, &msg, K_FOREVER);
	for (int i = 0; i < 100; i++) {
		if (fw_state == FW_UPDATE_COMPLETE || fw_state == FW_UPDATE_ERROR) break;
		k_msleep(50);
	}
	if (fw_state == FW_UPDATE_ERROR) return -EIO;
	if (fw_state != FW_UPDATE_COMPLETE) return -ETIMEDOUT;
	return 0;
}

void fw_update_cancel(void)
{	struct fw_writer_msg msg = { .cmd = FW_CMD_CANCEL };
	k_msgq_put(&fw_writer_msgq, &msg, K_NO_WAIT); }

enum fw_update_state fw_update_get_state(void) { return fw_state; }
size_t fw_update_bytes_written(void) { return fw_bytes_written; }

int fw_update_apply_and_reboot(void)
{
	if (fw_state != FW_UPDATE_COMPLETE) return -EINVAL;
	LOG_WRN("Rebooting..."); k_msleep(500);
	sys_reboot(SYS_REBOOT_WARM);
	sys_reboot(SYS_REBOOT_COLD);
	return -EIO;
}

/* ====== Shell demo command ====== */
static int cmd_flash_test(const struct shell *sh, size_t argc, char **argv)
{
	off_t offset = PARTITION_OFFSET(slot1_partition);
	size_t size = PARTITION_SIZE(slot1_partition);
	shell_print(sh, "Slot1 @ 0x%08lx size=%zu", (long)offset, size);

	shell_print(sh, "Erase...");
	flash_clear_errors();
	off_t off = offset; size_t rem = size; int ok = 0, fail = 0;
	while (rem > 0) {
		struct flash_pages_info inf;
		flash_get_page_info_by_offs(flash_dev, off, &inf);
		size_t sz = MIN(inf.size, rem);
		int rc;
		for (int r = 0; r < 3; r++) {
			rc = flash_erase_sector(off);
			if (rc == 0) break;
			flash_clear_errors(); k_msleep(100);
		}
		if (rc < 0) { fail++; } else { ok++; }
		off += sz; rem -= MIN(rem, sz); k_yield();
	}
	shell_print(sh, "Erase: %dOK %dFAIL", ok, fail);
	if (fail) return -EIO;

	uint8_t pat[256];
	for (int i = 0; i < 256; i++) pat[i] = i;
	int rc = flash_write_chunk(offset, pat, 256);
	if (rc < 0) { shell_error(sh, "Write fail %d", rc); return rc; }

	shell_print(sh, "Verify 256 bytes...");
	uint8_t buf[256];
	memcpy(buf, (void *)(0x08000000UL + offset), 256);
	int match = 1;
	for (int i = 0; i < 256; i++)
		if (buf[i] != pat[i]) { shell_error(sh, "Mismatch %d", i); match = 0; }
	shell_print(sh, match ? "✅ OK" : "❌ FAIL");
	return match ? 0 : -EIO;
}
SHELL_CMD_REGISTER(flashtest, NULL, "Erase+Write+Verify slot1", cmd_flash_test);
```

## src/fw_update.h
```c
/*
 * Firmware Update via WebUI
 *
 * Receives firmware image chunks via HTTP POST and writes them to MCUboot slot1.
 * After all chunks are received, verifies the image and reboots to trigger MCUboot swap.
 *
 * SPDX-FileCopyrightText: © 2025-2026 Tenstorrent USA, Inc.
 * SPDX-License-Identifier: Apache-2.0
 */

#ifndef FW_UPDATE_H
#define FW_UPDATE_H

#include <stdbool.h>
#include <stddef.h>
#include <stdint.h>

/* Maximum firmware image size (must fit in slot1_partition) */
#define FW_UPDATE_MAX_SIZE (896 * 1024)

/* Firmware update states */
enum fw_update_state {
	FW_UPDATE_IDLE,
	FW_UPDATE_ERASING,      /* Erasing slot1 in background */
	FW_UPDATE_IN_PROGRESS,  /* Receiving data + writing to slot1 */
	FW_UPDATE_COMPLETE,     /* All data received and verified */
	FW_UPDATE_ERROR,        /* Error occurred */
};

/**
 * @brief Initialize the firmware update subsystem.
 *
 * Must be called once at boot. Opens the slot1 flash device.
 *
 * @return 0 on success, negative errno on failure.
 */
int fw_update_init(void);

/**
 * @brief Start a firmware update.
 *
 * Erases slot1 and prepares to receive firmware data.
 *
 * @param total_size Expected total size of the firmware image.
 * @return 0 on success, negative errno on failure.
 */
int fw_update_start(size_t total_size);

/**
 * @brief Write a chunk of firmware data to slot1.
 *
 * Each call writes len bytes at the current write offset.
 * The caller must yield to the network stack between chunks.
 *
 * @param data Pointer to the firmware data chunk.
 * @param len Length of the chunk.
 * @return 0 on success, negative errno on failure.
 */
int fw_update_write(const uint8_t *data, size_t len);

/**
 * @brief Finish the firmware update.
 *
 * Verifies the written image by checking its header magic.
 *
 * @return 0 on success, negative errno on failure.
 */
int fw_update_finish(void);

/**
 * @brief Cancel an in-progress firmware update.
 */
void fw_update_cancel(void);

/**
 * @brief Get the current firmware update state.
 *
 * @return Current state.
 */
enum fw_update_state fw_update_get_state(void);

/**
 * @brief Get number of bytes written so far.
 *
 * @return Bytes written.
 */
size_t fw_update_bytes_written(void);

/**
 * @brief Reboot to apply the firmware update.
 *
 * MCUboot will detect the new image in slot1 and swap it into slot0.
 *
 * @return Does not return on success.
 */
int fw_update_apply_and_reboot(void);

/**
 * @brief Initialize firmware update Redfish handlers.
 *
 * Called from main() after HTTP server init.
 *
 * @return 0 on success, negative errno on failure.
 */
int fw_update_init_redfish(void);

#endif /* FW_UPDATE_H */
```
